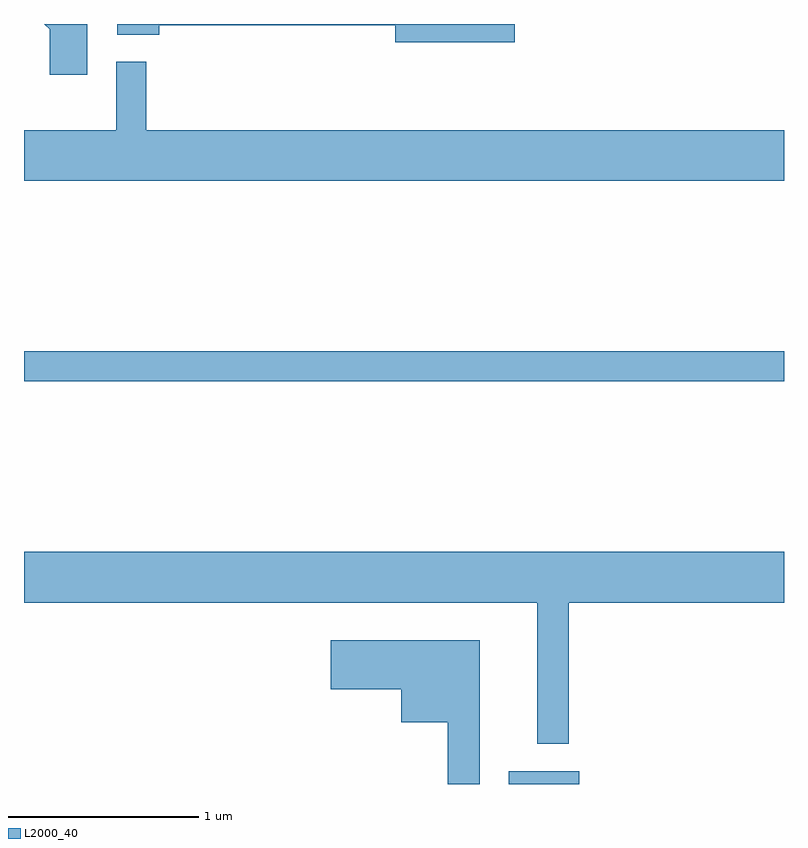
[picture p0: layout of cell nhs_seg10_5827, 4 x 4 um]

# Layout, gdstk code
import gdstk
lib = gdstk.Library(unit=1e-6, precision=1e-09)
def R(c, l, rs):  # rectangles x0, y0, x1, y1
    for r in rs: c.add(gdstk.rectangle(r[:2], r[2:], *l))
def P(c, l, *ps):  # polygons
    for p in ps: c.add(gdstk.Polygon(p, *l))
L2000_40 = (2000, 40)

nhs_seg10_5827 = lib.new_cell('nhs_seg10_5827')
R(nhs_seg10_5827, L2000_40, [(360.161,2108.522,360.534,2108.589), (357.611,2110.641,361.611,2110.799)])
P(nhs_seg10_5827, L2000_40, [(360.194,2112.522),(358.101,2112.522),(358.101,2112.466),(358.324,2112.466),(358.324,2112.516),(359.566,2112.516),(359.566,2112.426),(360.194,2112.426)],
  [(357.944,2112.522),(357.718,2112.522),(357.746,2112.494),(357.746,2112.256),(357.944,2112.256)],
  [(361.611,2111.964),(358.254,2111.964),(358.254,2112.323),(358.096,2112.323),(358.096,2111.964),(357.611,2111.964),(357.611,2111.696),(361.611,2111.696)],
  [(360.479,2109.476),(361.611,2109.476),(361.611,2109.744),(357.611,2109.744),(357.611,2109.476),(360.311,2109.476),(360.311,2108.733),(360.479,2108.733)],
  [(360.009,2109.279),(359.226,2109.279),(359.226,2109.021),(359.596,2109.021),(359.596,2108.846),(359.841,2108.846),(359.841,2108.522),(360.009,2108.522)])

lib.write_gds('nhs_seg10_5827.gds')
